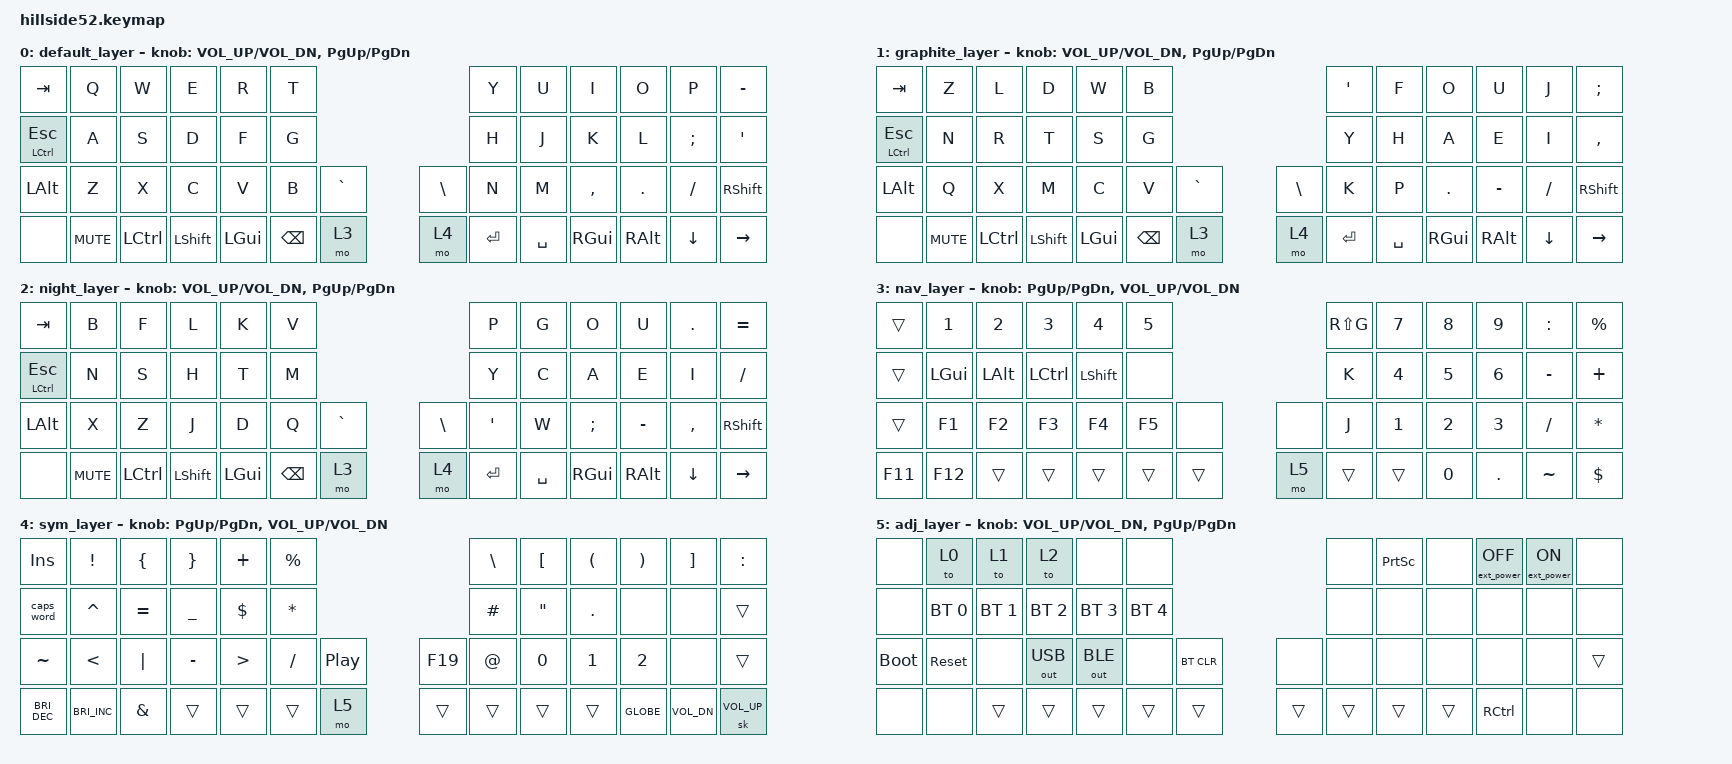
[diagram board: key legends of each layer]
/*
 * Copyright (c) 2021-2022 The ZMK Contributors
 *
 * SPDX-License-Identifier: MIT
 */

#include <behaviors.dtsi>
#include <dt-bindings/zmk/bt.h>
#include <dt-bindings/zmk/ext_power.h>
#include <dt-bindings/zmk/keys.h>
#include <dt-bindings/zmk/outputs.h>

#define QWERTY_L 0
#define DVORAK_L 1
#define COLEMK_L 2
#define NAV_L    3
#define SYM_L    4
#define ADJ_L    5
#define Undo   LC(Z)
#define Cut    LC(X)
#define Copy   LC(C)
#define Paste  LC(V)
#define Redo   LC(Y)

/ {
    keymap {
        compatible = "zmk,keymap";

        default_layer {
            /* QWERTY
 * -------------------------------------------------------------------------------------------------------------------------------------
 * | `     |   Q   |   W   |   E   |   R   |   T   |-----------------------------------|   Y   |   U   |   I   |   O   |   P   | BKSPC |
 * | TAB   |   A   |   S   |   D   |   F   |   G   |-----------------------------------|   H   |   J   |   K   |   L   |   ;   | ENTER |
 * | SHIFT |   Z   |   X   |   C   |   V   |   B   |   '   |-------------------|   /   |   N   |   M   |   ,   |   .   |  Up   | SHIFT |
 * | Mute  |  ESC  | CTRL  |-------|  GUI  |  ALT  |SK SHFT|  Nav  |---|  Sym  | SPACE |  ALT  |  GUI  |-------| Left  | Down  | Right |
 */

            bindings = <
&kp TAB           &kp Q       &kp W      &kp E  &kp R      &kp T                                         &kp Y      &kp U     &kp I      &kp O     &kp P     &kp MINUS
&mt LCTRL ESCAPE  &kp A       &kp S      &kp D  &kp F      &kp G                                         &kp H      &kp J     &kp K      &kp L     &kp SEMI  &kp APOS
&kp LALT          &kp Z       &kp X      &kp C  &kp V      &kp B     &kp GRAVE                &kp BSLH   &kp N      &kp M     &kp COMMA  &kp DOT   &kp FSLH  &kp RSHFT
&none             &kp C_MUTE  &kp LCTRL         &kp LSHFT  &kp LGUI  &kp BSPC   &mo 3  &mo 4  &kp ENTER  &kp SPACE  &kp RGUI             &kp RALT  &kp DOWN  &kp RIGHT
            >;

            sensor-bindings = <&inc_dec_kp C_VOL_UP C_VOL_DN &inc_dec_kp PG_UP PG_DN>;
        };

        graphite_layer {
            bindings = <
&kp TAB           &kp Z       &kp L      &kp D  &kp W      &kp B                                         &kp APOS   &kp F     &kp O    &kp U      &kp J     &kp SEMI
&mt LCTRL ESCAPE  &kp N       &kp R      &kp T  &kp S      &kp G                                         &kp Y      &kp H     &kp A    &kp E      &kp I     &kp COMMA
&kp LALT          &kp Q       &kp X      &kp M  &kp C      &kp V     &kp GRAVE                &kp BSLH   &kp K      &kp P     &kp DOT  &kp MINUS  &kp FSLH  &kp RSHFT
&none             &kp C_MUTE  &kp LCTRL         &kp LSHFT  &kp LGUI  &kp BSPC   &mo 3  &mo 4  &kp ENTER  &kp SPACE  &kp RGUI           &kp RALT   &kp DOWN  &kp RIGHT
            >;

            sensor-bindings =
                <&inc_dec_kp C_VOL_UP C_VOL_DN>,
                <&inc_dec_kp PG_UP PG_DN>;
        };

        night_layer {
            bindings = <
&kp TAB        &kp B       &kp F      &kp L  &kp K      &kp V                                         &kp P      &kp G     &kp O     &kp U      &kp DOT    &kp EQUAL
&mt LCTRL ESC  &kp N       &kp S      &kp H  &kp T      &kp M                                         &kp Y      &kp C     &kp A     &kp E      &kp I      &kp FSLH
&kp LALT       &kp X       &kp Z      &kp J  &kp D      &kp Q     &kp GRAVE                &kp BSLH   &kp APOS   &kp W     &kp SEMI  &kp MINUS  &kp COMMA  &kp RSHFT
&none          &kp C_MUTE  &kp LCTRL         &kp LSHFT  &kp LGUI  &kp BSPC   &mo 3  &mo 4  &kp ENTER  &kp SPACE  &kp RGUI            &kp RALT   &kp DOWN   &kp RIGHT
            >;

            sensor-bindings =
                <&inc_dec_kp C_VOL_UP C_VOL_DN>,
                <&inc_dec_kp PG_UP PG_DN>;
        };

        nav_layer {
            /* NAV
 * -------------------------------------------------------------------------------------------------------------------------------------
 * | Copy  |   1   |   2   |   3   |   4   |   5   |-----------------------------------|   6   |   7   |   8   |   9   |   0   | BSPC  |
 * | Cut   |  GUI  |  Alt  | Ctrl  | Shift | Paste |-----------------------------------| PG UP |  Left |  Up   |  Down | Right | PG DN |
 * | Shift |  F1   |  F2   |  F3   |  F4   |  F5   |  UnDo |-------------------| ReDo  |  F6   |  F7   |  F8   |  F9   |  F10  | Shift |
 * | F11   |  F12  |       |-------|       |       |       |       |---| ADJ_L |       |       |       |-------| CTRL  | HOME  |  END  |
 */

            bindings = <
&trans   &kp N1    &kp N2    &kp N3     &kp N4     &kp N5                                 &kp RS(G)  &kp N7  &kp N8  &kp N9   &kp COLON  &kp PERCENT
&trans   &kp LGUI  &kp LALT  &kp LCTRL  &kp LSHFT  &none                                  &kp K      &kp N4  &kp N5  &kp N6   &kp MINUS  &kp PLUS
&trans   &kp F1    &kp F2    &kp F3     &kp F4     &kp F5  &none                  &none   &kp J      &kp N1  &kp N2  &kp N3   &kp FSLH   &kp ASTERISK
&kp F11  &kp F12   &trans               &trans     &trans  &trans  &trans  &mo 5  &trans  &trans     &kp N0          &kp DOT  &kp TILDE  &kp DOLLAR
            >;

            sensor-bindings = <&inc_dec_kp PG_UP PG_DN &inc_dec_kp C_VOL_UP C_VOL_DN>;
        };

        sym_layer {
            /* SYM
 * -------------------------------------------------------------------------------------------------------------------------------------
 * | INS   |   !   |   @   |   #   |   $   |   %   |-----------------------------------|   ^   |   &   |   *   |   (   |   )   | DELETE|
 * | CAPS  |   \   |   -   |   =   |   [   |   ]   |-----------------------------------| Vol+  | Shift | Ctrl  | Alt   | Gui   | ENTER |
 * | Shift |   |   |   _   |   +   |   {   |   }   | Play  |-------------------| Mute  | Vol-  |  N0   |  N1   |  N2   |       | SHIFT |
 * |       |       |       |-------|       |       |       |  ADJ_L |---|      |       |       |       |-------| CTRL  | MENU  |SkAltGr|
 */

            bindings = <
&kp INS               &kp EXCL              &kp LBRC   &kp RBRC   &kp PLUS    &kp PERCENT                                    &kp BSLH  &kp LBKT  &kp LEFT_PARENTHESIS  &kp RPAR   &kp RBKT      &kp COLON
&caps_word            &kp CARET             &kp EQUAL  &kp UNDER  &kp DOLLAR  &kp ASTRK                                      &kp HASH  &kp DQT   &kp DOT               &none      &none         &trans
&kp TILDE             &kp LESS_THAN         &kp PIPE   &kp MINUS  &kp GT      &kp SLASH    &kp C_PP                 &kp F19  &kp AT    &kp N0    &kp N1                &kp N2     &none         &trans
&kp C_BRIGHTNESS_DEC  &kp C_BRIGHTNESS_INC  &kp AMPS              &trans      &trans       &trans    &mo 5  &trans  &trans   &trans    &trans                          &kp GLOBE  &kp C_VOL_DN  &sk C_VOL_UP
            >;

            sensor-bindings = <&inc_dec_kp PG_UP PG_DN &inc_dec_kp C_VOL_UP C_VOL_DN>;
        };

        adj_layer {
            /* ADJUST
 * -------------------------------------------------------------------------------------------------------------------------------------
 * |       | QWERTY| DVORAK| COLEMK|       |       |-----------------------------------|       |Prt Scr|       | EP_OFF| EP_ON |       |
 * |       | BT 0  | BT 1  | BT 2  | BT 3  | BT 4  |-----------------------------------|       |       |       |       |       |       |
 * | BOOTL | RESET |       |OUT_USB|OUT_BLE|       |BT CLR |-------------------|       |       |       |       |       |       | SHIFT |
 * ----------------|       |-------|       |       |       |       |---|       |       |       |       |-------| CTRL  |----------------
 */

            bindings = <
&none        &to 0         &to 1         &to 2         &none         &none                                             &none   &kp PRINTSCREEN  &none  &ext_power EP_OFF  &ext_power EP_ON  &none
&none        &bt BT_SEL 0  &bt BT_SEL 1  &bt BT_SEL 2  &bt BT_SEL 3  &bt BT_SEL 4                                      &none   &none            &none  &none              &none             &none
&bootloader  &sys_reset    &none         &out OUT_USB  &out OUT_BLE  &none         &bt BT_CLR                  &none   &none   &none            &none  &none              &none             &trans
&none        &none         &trans                      &trans        &trans        &trans      &trans  &trans  &trans  &trans  &trans                  &kp RCTRL          &none             &none
            >;

            sensor-bindings = <&inc_dec_kp C_VOL_UP C_VOL_DN &inc_dec_kp PG_UP PG_DN>;
        };
    };
};
